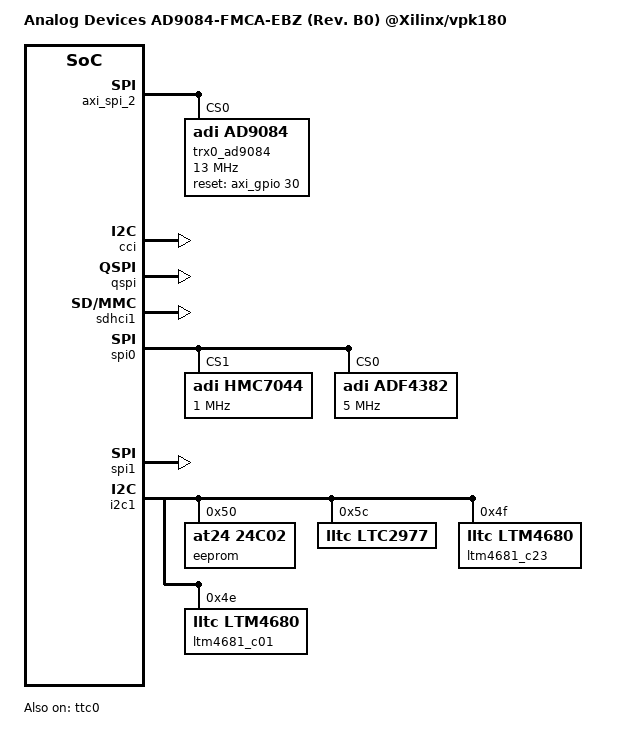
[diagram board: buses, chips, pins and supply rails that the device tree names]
/dts-v1/;

#include "versal-vpk180-revA.dts"
#include <dt-bindings/iio/adc/adi,ad9088.h>
#include <dt-bindings/interrupt-controller/irq.h>
#include <dt-bindings/jesd204/adxcvr.h>

#define fmc_spi spi0

#define DEVICE_PROFILE_NAME	"204C_M4_L4_NP16_20p0_4x4.bin"

/* RX path */
#define AD9084_RX_LANERATE_KHZ	20625000
#define AD9084_RX_LINK_CLK	312500000

/* TX path */
#define AD9084_TX_LANERATE_KHZ	20625000
#define AD9084_TX_LINK_CLK	312500000

/ {
	clocks {
		clkin_125: clock@0 {
			#clock-cells = <0>;
			compatible = "fixed-clock";
			clock-frequency = <125000000>;
			clock-output-names = "clkin_125";
		};
	};
};

&gic {
	num_cpus = <2>;
	num_interrupts = <96>;
};

&lpd_dma_chan0 {
	status = "okay";
};

&lpd_dma_chan1 {
	status = "okay";
};

&lpd_dma_chan2 {
	status = "okay";
};

&lpd_dma_chan3 {
	status = "okay";
};

&lpd_dma_chan4 {
	status = "okay";
};

&lpd_dma_chan5 {
	status = "okay";
};

&lpd_dma_chan6 {
	status = "okay";
};

&lpd_dma_chan7 {
	status = "okay";
};

&cci {
	status = "okay";
};

&smmu {
	status = "okay";
};

&gpio1 {
	status = "okay";
};

&qspi {
	is-dual = <1>;
	num-cs = <1>;
	spi-rx-bus-width = <4>;
	spi-tx-bus-width = <4>;
	status = "okay";
};

&sdhci1 {
	clock-frequency = <199999985>;
	status = "okay";
};

// &sysmon {
// 	#address-cells = <1>;
// 	#size-cells = <0>;
// 	xlnx,numchannels = /bits/8 <0>;
// };

&serial0 {
	cts-override ;
	device_type = "serial";
	port-number = <0>;
};

&spi0 {
	is-decoded-cs = <0>;
	num-cs = <3>;
	status = "okay";
};

&spi1 {
	is-decoded-cs = <0>;
	num-cs = <3>;
	status = "okay";
};

&ttc0 {
	status = "okay";
};

&ref_clk {
	clock-frequency = <33333333>;
};

&gem0 {
	local-mac-address = [00 0a 35 ad 90 81];
};

&i2c1 {
	eeprom@50 {
		compatible = "at24,24c02";
		reg = <0x50>;
	};
	ltc2977@5c {
		compatible = "lltc,ltc2977";
		reg = <0x5C>;
	};
	ltm4681_c23@4f {
		compatible = "lltc,ltm4680";
		reg = <0x4F>;
	};
	ltm4681_c01@4e {
		compatible = "lltc,ltm4680";
		reg = <0x4E>;
	};
};

/ {
	model = "Analog Devices AD9084-FMCA-EBZ (Rev. B0) @Xilinx/vpk180";

	chosen {
		bootargs = "console=ttyAMA0 earlycon=pl011,mmio32,0xFF000000,115200n8 clk_ignore_unused root=/dev/mmcblk0p2 rw rootfstype=ext4 rootwait";
		stdout-path = "serial0:115200";
	};

	fpga_axi: fpga-axi@0 {
		interrupt-parent = <&gic>;
		compatible = "simple-bus";
		#address-cells = <0x1>;
		#size-cells = <0x1>;
		ranges = <0 0 0 0xffffffff>;

		clocks {
        	rx_fixed_linerate: clock@1 {
				#clock-cells = <0>;
				compatible = "fixed-clock";
				clock-frequency = <AD9084_RX_LANERATE_KHZ>;
				clock-output-names = "rx_lane_clk";
			};

			tx_fixed_linerate: clock@2 {
				#clock-cells = <0>;
				compatible = "fixed-clock";
				clock-frequency = <AD9084_TX_LANERATE_KHZ>;
				clock-output-names = "tx_lane_clk";
			};

			rx_fixed_link_clk: clock@3 {
				#clock-cells = <0>;
				compatible = "fixed-clock";
				clock-frequency = <AD9084_RX_LINK_CLK>;
				clock-output-names = "rx_link_clk";
			};

			tx_fixed_link_clk: clock@4 {
				#clock-cells = <0>;
				compatible = "fixed-clock";
				clock-frequency = <AD9084_TX_LINK_CLK>;
				clock-output-names = "tx_link_clk";
			};
};

		axi_gpio: gpio@a4000000 {
			#gpio-cells = <2>;
			#interrupt-cells = <2>;
			clock-names = "s_axi_aclk";
			clocks = <&versal_clk PMC_PL0_REF>;
			compatible = "xlnx,axi-gpio-2.0", "xlnx,xps-gpio-1.00.a";
			gpio-controller;
			interrupt-controller;
			interrupt-names = "ip2intc_irpt";
			interrupt-parent = <&gic>;
			interrupts = <0 84 4>;
			reg = <0xa4000000 0x1000>;
			xlnx,all-inputs = <0x0>;
			xlnx,all-inputs-2 = <0x0>;
			xlnx,all-outputs = <0x0>;
			xlnx,all-outputs-2 = <0x0>;
			xlnx,dout-default = <0x00000000>;
			xlnx,dout-default-2 = <0x00000000>;
			xlnx,gpio-width = <0x20>;
			xlnx,gpio2-width = <0x20>;
			xlnx,interrupt-present = <0x1>;
			xlnx,is-dual = <0x1>;
			xlnx,tri-default = <0xFFFFFFFF>;
			xlnx,tri-default-2 = <0xFFFFFFFF>;
		};

		rx_dma: dma@bc420000 {
			compatible = "adi,axi-dmac-1.00.a";
			reg = <0xbc420000 0x10000>;
			#dma-cells = <1>;
			#clock-cells = <0>;
			interrupts = <0 97 IRQ_TYPE_LEVEL_HIGH>;
			clocks = <&versal_clk PMC_PL1_REF>;

			adi,channels {
				#size-cells = <0>;
				#address-cells = <1>;

				dma-channel@0 {
					reg = <0>;
					adi,source-bus-type = <2>;
					adi,destination-bus-type = <0>;
				};
			};
		};

		tx_dma: dma@bc430000  {
			compatible = "adi,axi-dmac-1.00.a";
			reg = <0xbc430000 0x10000>;
			#dma-cells = <1>;
			#clock-cells = <0>;
			interrupts = <0 96 IRQ_TYPE_LEVEL_HIGH>;
			clocks = <&versal_clk PMC_PL1_REF>;

			adi,channels {
				#size-cells = <0>;
				#address-cells = <1>;

				dma-channel@0 {
					reg = <0>;
					adi,source-bus-type = <0>;
					adi,destination-bus-type = <2>;
				};
			};
		};

		axi_data_offload_tx: axi-data-offload-0@bc440000 {
			compatible = "adi,axi-data-offload-1.0.a";
			reg = <0xbc440000 0x10000>;
		};

		axi_data_offload_rx: axi-data-offload-1@bc450000 {
			compatible = "adi,axi-data-offload-1.0.a";
			reg = <0xbc450000 0x10000>;
		};

		hsci_clkgen: axi-clkgen@a4ad0000  {
			compatible = "adi,axi-clkgen-2.00.a";
			reg = <0xa4ad0000 0x10000>;
			#clock-cells = <0>;
			clocks = <&versal_clk PMC_PL0_REF>, <&versal_clk PMC_PL0_REF>;
			clock-names = "s_axi_aclk", "clkin1";
			clock-output-names = "hsci_clkgen";
		};

		axi_hsci: axi_hsci@bc500000 {
			compatible = "adi,axi-hsci-1.0.a";
			reg = <0xbc500000 0x40000>;
			clocks = <&hsci_clkgen>;
			clock-names = "pclk";

			adi,hsci-interface-speed-mhz = <800>;
		};

		axi_ad9084_core_rx: axi-ad9084-rx-hpc@a4a10000 {
			compatible = "adi,axi-ad9081-rx-1.0";
			reg = <0xa4a10000 0x8000>;
			dmas = <&rx_dma 0>;
			dma-names = "rx";
			spibus-connected = <&trx0_ad9084>;

			jesd204-device;
			#jesd204-cells = <2>;
			jesd204-inputs = <&axi_ad9084_rx_jesd 0 FRAMER_LINK_A0_RX>;
		};

		axi_ad9084_core_tx: axi-ad9084-tx-hpc@a4b10000 {
			compatible = "adi,axi-ad9081-tx-1.0";
			reg = <0xa4b10000 0x4000>;
			dmas = <&tx_dma 0>;
			dma-names = "tx";
			clocks = <&trx0_ad9084 1>;
			clock-names = "sampl_clk";
			spibus-connected = <&trx0_ad9084>;
			adi,axi-pl-fifo-enable;
			adi,axi-data-offload-connected = <&axi_data_offload_tx>;

			jesd204-device;
			#jesd204-cells = <2>;
			jesd204-inputs = <&axi_ad9084_tx_jesd 0 DEFRAMER_LINK_A0_TX>;
		};

		axi_ad9084_rx_jesd: axi-jesd204-rx@a4a90000 {
			compatible = "adi,axi-jesd204-rx-1.0";
			reg = <0xa4a90000 0x1000>;

			interrupts = <0 95 IRQ_TYPE_LEVEL_HIGH>;

			clocks = <&versal_clk PMC_PL0_REF>, <&hmc7044 9>, <&rx_fixed_link_clk>, <&rx_fixed_linerate>;
			clock-names = "s_axi_aclk", "device_clk", "link_clk", "lane_clk";

			#clock-cells = <0>;
			clock-output-names = "jesd_rx_lane_clk";

			jesd204-device;
			#jesd204-cells = <2>;
			jesd204-inputs = <&hmc7044 0 FRAMER_LINK_A0_RX>;

			reset-done-gpios = <&axi_gpio 32 0>;
			pll-datapath-reset-gpios = <&axi_gpio 36 0>;
			datapath-reset-gpios = <&axi_gpio 38 0>;
		};

		axi_ad9084_tx_jesd: axi-jesd204-tx@a4b90000 {
			compatible = "adi,axi-jesd204-tx-1.0";
			reg = <0xa4b90000 0x1000>;

			interrupts = <0 94 IRQ_TYPE_LEVEL_HIGH>;

			clocks = <&versal_clk PMC_PL0_REF>, <&hmc7044 8>, <&tx_fixed_link_clk>, <&tx_fixed_linerate>;
			clock-names = "s_axi_aclk", "device_clk", "link_clk", "lane_clk";

			#clock-cells = <0>;
			clock-output-names = "jesd_tx_lane_clk";

			jesd204-device;
			#jesd204-cells = <2>;
			jesd204-inputs = <&hmc7044 0 DEFRAMER_LINK_A0_TX>;

			reset-done-gpios = <&axi_gpio 33 0>;
			pll-datapath-reset-gpios = <&axi_gpio 37 0>;
			datapath-reset-gpios = <&axi_gpio 39 0>;
		};

		axi_sysid_0: axi-sysid-0@a5000000 {
			compatible = "adi,axi-sysid-1.00.a";
			reg = <0xa5000000 0x10000>;
		};

		axi_spi_2: spi@a4a80000  {
			#address-cells = <1>;
			#size-cells = <0>;
			bits-per-word = <8>;
			compatible = "xlnx,axi-quad-spi-3.2", "xlnx,xps-spi-2.00.a";
			fifo-size = <16>;
			interrupt-names = "ip2intc_irpt";
			interrupt-parent = <&gic>;
			interrupts = <0 93 IRQ_TYPE_LEVEL_HIGH>;
			num-cs = <0x8>;
			reg = <0xa4a80000 0x1000>;
			xlnx,num-ss-bits = <0x8>;
			xlnx,spi-mode = <0>;
		};
	};
};


#include <dt-bindings/iio/frequency/hmc7044.h>
#include <dt-bindings/iio/adc/adi,ad9081.h>

&spi0 {
	status = "okay";

	hmc7044: hmc7044@1 {
		#address-cells = <1>;
		#size-cells = <0>;
		#clock-cells = <1>;
		compatible = "adi,hmc7044";
		reg = <1>;
		spi-max-frequency = <1000000>;

		jesd204-device;
		#jesd204-cells = <2>;
		jesd204-sysref-provider;

		//adi,clkin1-vco-in-enable;

		clocks = <&clkin_125>;
		clock-names = "clkin0";

		adi,jesd204-max-sysref-frequency-hz = <2000000>;

		adi,pll1-clkin-frequencies = <125000000 125000000 125000000 125000000>;
		adi,vcxo-frequency = <125000000>;

		adi,pll1-loop-bandwidth-hz = <200>;

		adi,pll2-output-frequency = <2500000000>;

		adi,pll1-ref-prio-ctrl = <0xE1>; /* prefer CLKIN1 -> CLKIN0 -> CLKIN2 -> CLKIN3 */
		adi,pll1-ref-autorevert-enable;

		adi,sysref-timer-divider = <1024>;
		adi,pulse-generator-mode = <HMC7044_PULSE_GEN_CONT_PULSE>;

		adi,clkin0-buffer-mode  = <0x07>;
		adi,clkin1-buffer-mode  = <0x07>;
		adi,oscin-buffer-mode = <0x5>;

		adi,gpi-controls = <0x00 0x00 0x00 0x00>;
		adi,gpo-controls = <0x37 0x33 0x00 0x00>;

		clock-output-names =
				"hmc7044_out0", "hmc7044_out1", "hmc7044_out2",
				"hmc7044_out3", "hmc7044_out4", "hmc7044_out5",
				"hmc7044_out6", "hmc7044_out7", "hmc7044_out8",
				"hmc7044_out9", "hmc7044_out10", "hmc7044_out11",
				"hmc7044_out12", "hmc7044_out13";

		hmc7044_c0: channel@1 {
			reg = <1>;
			adi,extended-name = "APOLLO_SYSREF";
			adi,divider = <768>;	// 3.2552
			adi,driver-mode = <HMC7044_DRIVER_MODE_LVDS>;	// LVDS
			adi,jesd204-sysref-chan;
		};

		hmc7044_c3: channel@3 {
			reg = <3>;
			adi,extended-name = "FPGA_SYSREF";
			adi,divider = <768>;	// 3.2552
			adi,driver-mode = <HMC7044_DRIVER_MODE_LVDS>;	// LVDS
			adi,jesd204-sysref-chan;
		};

		hmc7044_c8: channel@8 {
			reg = <8>;
			adi,extended-name = "CORE_CLK_TX";
			adi,divider = <8>;	// 312.5
			adi,driver-mode = <HMC7044_DRIVER_MODE_LVDS>;	// LVDS
		};

		hmc7044_c9: channel@9 {
			reg = <9>;
			adi,extended-name = "CORE_CLK_RX";
			adi,divider = <8>;	// 312.5
			adi,driver-mode = <HMC7044_DRIVER_MODE_LVDS>;	// LVDS
		};

		hmc7044_c10: channel@10 {
			reg = <10>;
			adi,extended-name = "FPGA_REFCLK";
			adi,divider = <8>;	// 312.5
			adi,driver-mode = <HMC7044_DRIVER_MODE_LVDS>;	// LVDS
		};

		hmc7044_c11: channel@11 {
			reg = <11>;
			adi,extended-name = "CORE_CLK_RX_B";
			adi,divider = <8>;	// 312.5
			adi,driver-mode = <HMC7044_DRIVER_MODE_LVDS>;	// LVDS
		};

		hmc7044_c12: channel@12 {
			reg = <12>;
			adi,extended-name = "CORE_CLK_TX_B";
			adi,divider = <8>;	// 312.5
			adi,driver-mode = <HMC7044_DRIVER_MODE_LVDS>;	// LVDS
		};
	};

	adf4382: adf4382@0 {
		#clock-cells = <1>;
		compatible = "adi,adf4382";
		reg = <0>;
		spi-max-frequency = <5000000>;
		clocks = <&clkin_125>;
		clock-names = "ref_clk";
		clock-output-names = "adf4382_out_clk";
		adi,power-up-frequency = /bits/ 64 <20000000000>;
	};
};

&axi_spi_2 {
	trx0_ad9084: ad9084@0 {
		#address-cells = <1>;
		#size-cells = <0>;
		compatible = "adi,ad9084";
		reg = <0>;
		spi-max-frequency = <13000000>;

		/* Clocks */
		clocks = <&adf4382 0>;
		clock-names = "dev_clk";
		dev_clk-clock-scales = <1 10>;

		clock-output-names = "rx_sampl_clk", "tx_sampl_clk";
		#clock-cells = <1>;

		adi,axi-hsci-connected = <&axi_hsci>;
		// adi,hsci-rx-clk-invert-en;
		// adi,hsci-rx-clk-adj = <8>;
		// //adi,hsci-tx-clk-invert-en;
		// adi,hsci-tx-clk-adj = <9>;

		adi,hsci-auto-linkup-mode-en;
		adi,hsci-disable-after-boot-en;

		jesd204-device;
		#jesd204-cells = <2>;
		jesd204-top-device = <0>; /* This is the TOP device */
		jesd204-ignore-errors;
		jesd204-link-ids = <DEFRAMER_LINK_A0_TX DEFRAMER_LINK_B0_TX FRAMER_LINK_A0_RX FRAMER_LINK_B0_RX>;

		jesd204-inputs =
			<&axi_ad9084_core_rx 0 FRAMER_LINK_A0_RX>,
			<&axi_ad9084_core_tx 0 DEFRAMER_LINK_A0_TX>;
		reset-gpios = <&axi_gpio 30 0>;
		adi,device-profile-fw-name = DEVICE_PROFILE_NAME;

		adi,jrx0-physical-lane-mapping = <5  1  3 7 11 11 11 11 11 11 11 11>;
		adi,jtx0-logical-lane-mapping = <11 11 11 1 11 11 11 11  2  3 11  0>;

		adi,jrx1-physical-lane-mapping = <1  7 10  3 11 11 11 11 11 11 11 11>;
		adi,jtx1-logical-lane-mapping = <11 11  1  0 11  2 11  3 11 11 11 11>;

		adi,jtx-ser-amplitude = <0>;
		adi,jtx-ser-pre-emphasis = <2>;
		adi,jtx-ser-post-emphasis = <1>;

		adi,subclass = <0>;
	};
};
